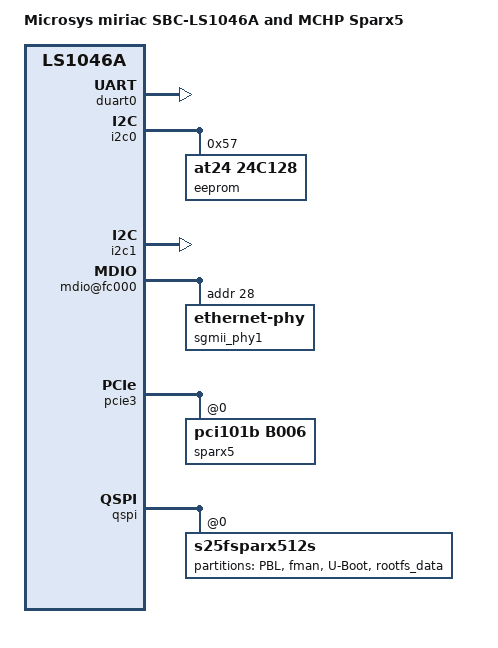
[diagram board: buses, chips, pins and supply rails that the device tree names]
// SPDX-License-Identifier: (GPL-2.0+ OR MIT)

/dts-v1/;

#include <dt-bindings/gpio/gpio.h>
#include "fsl-ls1046a.dtsi"
#include "fsl-ls1046a-miriac-mpxls1046.dtsi"

/ {
	model = "Microsys miriac SBC-LS1046A and MCHP Sparx5";
	compatible = "microsys,sbc1046a", "microsys,mpxls1046a", "fsl,ls1046a";

	aliases {
		ethernet0 = &enet4;
		serial0 = &duart0;
		twi0    = &twi0;
		i2c100  = &i2c100;
		i2c101  = &i2c101;
		i2c102  = &i2c102;
		i2c103  = &i2c103;
		i2c104  = &i2c104;
		i2c105  = &i2c105;
		i2c106  = &i2c106;
		i2c107  = &i2c107;
		i2c108  = &i2c108;
		i2c109  = &i2c109;
		i2c110  = &i2c110;
		i2c111  = &i2c111;
		i2c112  = &i2c112;
		i2c113  = &i2c113;
		i2c114  = &i2c114;
		i2c115  = &i2c115;
		i2c116  = &i2c116;
		i2c117  = &i2c117;
		i2c118  = &i2c118;
		i2c119  = &i2c119;
	};

	chosen {
		stdout-path = "serial0:115200n8";
	};

	meba {
		board = "Sparx5 pcb134 via PCI";
		pcb = "pcb134";
		target = "0x7558";
		regoff0 = "0x10000000"; // CSR ring offsets
		regoff1 = "0x00000000"; // CPU register offsets
	};

	ifmux: switch_ifmux@0 {
		compatible = "microchip,sparx5-ifmux";
		status = "okay";
	};
};

&duart0 {
	status = "okay";
};

&i2c0 {
	status = "okay";

	eeprom@57 {
		compatible = "at24,24c128";
		reg = <0x57>;
	};
};

&i2c1 {
	status = "okay";
};

&ifc {
	nand@0,0 {
		status = "disabled";
		nand-ecc-strength = <4>;
		partition@0 {
			reg = <0x0 0x00100000>;
			label = "NAND U-Boot Image";
			read-only;
		};

		partition@100000 {
			reg = <0x00100000 0x00100000>;
			label = "NAND U-Boot Env";
		};

		partition@200000 {
			reg = <0x00200000 0x01E00000>;
			label = "NAND FIT Image";
		};

		partition@2000000 {
			reg = <0x02000000 0x1e000000>;
			label = "NAND (RW) UBIFS Root File System";
		};
	};
};

#include "fsl-ls1046-post.dtsi"

&fman0 {
	compatible = "fsl,fman", "simple-bus";

	ethernet@e8000 {
		phy-handle = <&sgmii_phy1>;
		phy-connection-type = "sgmii";
		/* Placeholder, overwritten by bootloader */
	        mac-address = [00 00 00 00 00 00];
		/* Fallback address */
		local-mac-address = [02 18 31 7e 3e 63];
	};

	mdio@fc000 {
		sgmii_phy1: ethernet-phy@28 {
			reg = <28>;
		};
	};
};

&pcie3 {
	pci@0,0 {
		#address-cells = <3>;
		#size-cells = <2>;
		reg = <0 0 0 0 0>;
		device_type = "pci";

		/* PCI bus 2: root bus resource [0x5040000000-0x507fffffff] => bus address [0x40000000-0x7fffffff]
		 * PCIe BAR0: CSR 32MB: [0x5040000000-0x5041ffffff] => [0x40000000-0x41ffffff] => Sparx5: [610000000-611ffffff]
		 * PCIe BAR2: CPU 2MB:  [0x5044000000-0x50441fffff] => [0x44000000-0x441fffff] => Sparx5: [600000000-6001fffff]
		 */
		ranges = <0x82000000 0x0 0x40000000 0x82000000 0x0 0x40000000 0 0x40000000>; /* PCIe Bus resource */

		sparx5: switch@0,0 {
			compatible = "pci101b,b006";

			reg = <0 0 0 0 0>;
			#address-cells = <2>;
			#size-cells = <1>;
			ranges = <0x6 0x00000000 0x82000000 0x0 0x44000000 0x00200000>,  /* CPU */
			         <0x6 0x10000000 0x82000000 0x0 0x40000000 0x02000000>;  /* CSR */
			#interrupt-cells = <2>;
			interrupt-controller;
			interrupt-parent = <&sparx5>;

			gpio: pinctrl@6110101e0 {
				compatible = "microchip,sparx5-pinctrl";
				reg = <0x6 0x110101e0 0x90>, <0x6 0x10508010 0x100>;
				gpio-controller;
				#gpio-cells = <2>;
				gpio-ranges = <&gpio 0 0 64>;
				interrupt-controller;
				interrupts = <23 IRQ_TYPE_LEVEL_HIGH>;
				#interrupt-cells = <2>;

				cs1_pins: cs1-pins {
					pins = "GPIO_16";
					function = "si";
				};

				cs2_pins: cs2-pins {
					pins = "GPIO_17";
					function = "si";
				};

				cs3_pins: cs3-pins {
					pins = "GPIO_18";
					function = "si";
				};

				si2_pins: si2-pins {
					pins = "GPIO_39", "GPIO_40", "GPIO_41";
					function = "si2";
				};

				sgpio0_pins: sgpio-pins {
					pins = "GPIO_0", "GPIO_1", "GPIO_2", "GPIO_3";
					function = "sg0";
				};

				sgpio1_pins: sgpio1-pins {
					pins = "GPIO_4", "GPIO_5", "GPIO_12", "GPIO_13";
					function = "sg1";
				};

				sgpio2_pins: sgpio2-pins {
					pins = "GPIO_30", "GPIO_31", "GPIO_32", "GPIO_33";
					function = "sg2";
				};

				uart_pins: uart-pins {
					pins = "GPIO_10", "GPIO_11";
					function = "uart";
				};

				uart2_pins: uart2-pins {
					pins = "GPIO_26", "GPIO_27";
					function = "uart2";
				};

				uart3_pins: uart3-pins {
					pins = "GPIO_23", "GPIO_24";
					function = "uart3";
				};

				i2c_pins: i2c-pins {
					pins = "GPIO_14", "GPIO_15";
					function = "twi";
				};

				i2c2_pins: i2c2-pins {
					pins = "GPIO_28", "GPIO_29";
					function = "twi2";
				};

				emmc_pins: emmc-pins {
					pins = "GPIO_34", "GPIO_35", "GPIO_36",
						"GPIO_37", "GPIO_38", "GPIO_39",
						"GPIO_40", "GPIO_41", "GPIO_42",
						"GPIO_43", "GPIO_44", "GPIO_45",
						"GPIO_46", "GPIO_47";
					function = "emmc";
				};
			};

			sgpio0: gpio@61101036c {
				compatible = "mscc,ocelot-sgpio";
				status = "disabled";
				clocks = <&sys_clk>;
				pinctrl-0 = <&sgpio0_pins>;
				pinctrl-names = "default";
				reg = <0x6 0x1101036c 0x100>;
				gpio-controller;
				#gpio-cells = <2>;
				gpio-ranges = <&gpio 0 64 64>;
			};

			sgpio1: gpio@611010484 {
				compatible = "mscc,ocelot-sgpio";
				status = "disabled";
				clocks = <&sys_clk>;
				pinctrl-0 = <&sgpio1_pins>;
				pinctrl-names = "default";
				reg = <0x6 0x11010484 0x100>;
				gpio-controller;
				#gpio-cells = <2>;
				gpio-ranges = <&gpio 0 128 64>;
			};

			sgpio2: gpio@61101059c {
				compatible = "mscc,ocelot-sgpio";
				status = "disabled";
				clocks = <&sys_clk>;
				pinctrl-0 = <&sgpio2_pins>;
				pinctrl-names = "default";
				reg = <0x6 0x1101059c 0x100>;
				gpio-controller;
				#gpio-cells = <2>;
				gpio-ranges = <&gpio 0 192 64>;
			};

			twi0: i2c@600101000 {
				compatible = "snps,designware-i2c";
				status = "disabled";
				pinctrl-0 = <&i2c_pins>;
				pinctrl-names = "default";
				reg = <0x6 0x00101000 0x100>;
				#address-cells = <1>;
				#size-cells = <0>;
				interrupts = <14 IRQ_TYPE_LEVEL_HIGH>;
				i2c-sda-hold-time-ns = <300>;
				clock-frequency = <100000>;
				clocks = <&ahb_clk>;
			};

			twi1: i2c@600103000 {
				compatible = "snps,designware-i2c";
				status = "disabled";
				pinctrl-0 = <&i2c2_pins>;
				pinctrl-names = "default";
				reg = <0x6 0x00103000 0x100>;
				#address-cells = <1>;
				#size-cells = <0>;
				interrupts = <15 IRQ_TYPE_LEVEL_HIGH>;
				i2c-sda-hold-time-ns = <300>;
				clock-frequency = <100000>;
				clocks = <&ahb_clk>;
			};

			irqmux0: irqmux@600000000 {
				compatible = "microchip,uio_sparx5_irqmux";
				reg = <0x6 0x00000000 0x00200000>;
				reg-names = "origin1_2";
				interrupts = <40 IRQ_TYPE_LEVEL_HIGH>,
					     <41 IRQ_TYPE_LEVEL_HIGH>,
					     <42 IRQ_TYPE_LEVEL_HIGH>,
					     <43 IRQ_TYPE_LEVEL_HIGH>;
				interrupt-names = "master",
					     "slave-0x10001", "slave-0x10002",
					     "slave-0x20000";
				external-cpu;
				status = "disabled";
			};

			dma: dma-controller@600000000 {
				compatible = "microchip,vsc7558-fdma";
				reg = <0x6 0x10000000 0x02000000>, /* CSR */
				      <0x6 0x00000000 0x00200000>; /* CPU */
				#dma-cells = <1>;
				dma-channels = <8>;
				interrupts = <28 IRQ_TYPE_LEVEL_HIGH>;
				external-cpu;
				status = "disabled";
			};

			ifh0: ifh_switch_port@0 {
				compatible = "microchip,vsc7558-fdma-ifh";
				reg = <0x6 0x10000000 0x2000000>; /* CSR */
				dmas = <&dma 0>, <&dma 6>;
				dma-names = "tx", "rx";
				interrupts = <33 IRQ_TYPE_LEVEL_HIGH>,
				             <34 IRQ_TYPE_LEVEL_HIGH>;
				interrupt-names = "xtr", "inj";
				status = "disabled";
			};

			ifh1: ifh_switch_port@1 {
				compatible = "microchip,vsc7558-fdma-ifh";
				reg = <0x6 0x10000000 0x2000000>; /* CSR */
				dmas = <&dma 1>, <&dma 7>;
				dma-names = "tx", "rx";
				interrupts = <33 IRQ_TYPE_LEVEL_HIGH>,
				             <34 IRQ_TYPE_LEVEL_HIGH>;
				interrupt-names = "xtr", "inj";
				status = "disabled";
			};

			clocks: clocks {
				ahb_clk: ahb-clk {
					compatible = "fixed-clock";
					#clock-cells = <0>;
					clock-frequency = <250000000>;
				};
				sys_clk: sys-clk {
					compatible = "fixed-clock";
					#clock-cells = <0>;
					clock-frequency = <625000000>;
				};
				aux1_clk: aux1-clk {
					compatible = "fixed-clock";
					#clock-cells = <0>;
					clock-frequency = <667000000>;
				};
			};

			twi0_imux: twi0-imux@0 {
				compatible = "i2c-mux-pinctrl";
				status = "disabled";
				#address-cells = <1>;
				#size-cells = <0>;
				i2c-parent = <&twi0>;
			};

			twi0_emux: twi0-emux@0 {
				compatible = "i2c-mux-gpio";
				status = "disabled";
				#address-cells = <1>;
				#size-cells = <0>;
				i2c-parent = <&twi0>;
			};
		};
	};
};

&gpio {
	cs14_pins: cs14-pins {
		pins = "GPIO_44";
		function = "si";
	};
};

&sgpio0 {
	status = "okay";
	microchip,sgpio-ports = <0x00FFFFFF>;
};

&twi0 {
	status = "okay";
};

&gpio {
	i2cmux_pins_i: i2cmux-pins-i {
               pins = "GPIO_16", "GPIO_17", "GPIO_18", "GPIO_19",
                      "GPIO_20", "GPIO_22", "GPIO_36", "GPIO_35",
                      "GPIO_50", "GPIO_51", "GPIO_56", "GPIO_57";
		function = "twi_scl_m";
		output-low;
	};
	i2cmux_0: i2cmux-0 {
		pins = "GPIO_16";
		function = "twi_scl_m";
		output-high;
	};
	i2cmux_1: i2cmux-1 {
		pins = "GPIO_17";
		function = "twi_scl_m";
		output-high;
	};
	i2cmux_2: i2cmux-2 {
		pins = "GPIO_18";
		function = "twi_scl_m";
		output-high;
	};
	i2cmux_3: i2cmux-3 {
		pins = "GPIO_19";
		function = "twi_scl_m";
		output-high;
	};
	i2cmux_4: i2cmux-4 {
		pins = "GPIO_20";
		function = "twi_scl_m";
		output-high;
	};
	i2cmux_5: i2cmux-5 {
		pins = "GPIO_22";
		function = "twi_scl_m";
		output-high;
	};
	i2cmux_6: i2cmux-6 {
		pins = "GPIO_36";
		function = "twi_scl_m";
		output-high;
	};
	i2cmux_7: i2cmux-7 {
		pins = "GPIO_35";
		function = "twi_scl_m";
		output-high;
	};
	i2cmux_8: i2cmux-8 {
		pins = "GPIO_50";
		function = "twi_scl_m";
		output-high;
	};
	i2cmux_9: i2cmux-9 {
		pins = "GPIO_51";
		function = "twi_scl_m";
		output-high;
	};
	i2cmux_10: i2cmux-10 {
		pins = "GPIO_56";
		function = "twi_scl_m";
		output-high;
	};
	i2cmux_11: i2cmux-11 {
		pins = "GPIO_57";
		function = "twi_scl_m";
		output-high;
	};
};

&twi0_imux {
	status = "okay";
	pinctrl-names =
		"i2c100", "i2c101", "i2c102", "i2c103",
		"i2c104", "i2c105", "i2c106", "i2c107",
		"i2c108", "i2c109", "i2c110", "i2c111", "idle";
	pinctrl-0 = <&i2cmux_0>;
	pinctrl-1 = <&i2cmux_1>;
	pinctrl-2 = <&i2cmux_2>;
	pinctrl-3 = <&i2cmux_3>;
	pinctrl-4 = <&i2cmux_4>;
	pinctrl-5 = <&i2cmux_5>;
	pinctrl-6 = <&i2cmux_6>;
	pinctrl-7 = <&i2cmux_7>;
	pinctrl-8 = <&i2cmux_8>;
	pinctrl-9 = <&i2cmux_9>;
	pinctrl-10 = <&i2cmux_10>;
	pinctrl-11 = <&i2cmux_11>;
	pinctrl-12 = <&i2cmux_pins_i>;
	i2c100: i2c_sfp1 {
		reg = <0x0>;
		#address-cells = <1>;
		#size-cells = <0>;
	};
	i2c101: i2c_sfp2 {
		reg = <0x1>;
		#address-cells = <1>;
		#size-cells = <0>;
	};
	i2c102: i2c_sfp3 {
		reg = <0x2>;
		#address-cells = <1>;
		#size-cells = <0>;
	};
	i2c103: i2c_sfp4 {
		reg = <0x3>;
		#address-cells = <1>;
		#size-cells = <0>;
	};
	i2c104: i2c_sfp5 {
		reg = <0x4>;
		#address-cells = <1>;
		#size-cells = <0>;
	};
	i2c105: i2c_sfp6 {
		reg = <0x5>;
		#address-cells = <1>;
		#size-cells = <0>;
	};
	i2c106: i2c_sfp7 {
		reg = <0x6>;
		#address-cells = <1>;
		#size-cells = <0>;
	};
	i2c107: i2c_sfp8 {
		reg = <0x7>;
		#address-cells = <1>;
		#size-cells = <0>;
	};
	i2c108: i2c_sfp9 {
		reg = <0x8>;
		#address-cells = <1>;
		#size-cells = <0>;
	};
	i2c109: i2c_sfp10 {
		reg = <0x9>;
		#address-cells = <1>;
		#size-cells = <0>;
	};
	i2c110: i2c_sfp11 {
		reg = <0xa>;
		#address-cells = <1>;
		#size-cells = <0>;
	};
	i2c111: i2c_sfp12 {
		reg = <0xb>;
		#address-cells = <1>;
		#size-cells = <0>;
	};
};

&twi0_emux {
	status = "okay";
	mux-gpios = <&gpio 55 GPIO_ACTIVE_HIGH
		     &gpio 60 GPIO_ACTIVE_HIGH
		     &gpio 61 GPIO_ACTIVE_HIGH
		     &gpio 54 GPIO_ACTIVE_HIGH>;
	idle-state = <0x8>;
	i2c112: i2c_sfp13 {
		reg = <0x0>;
		#address-cells = <1>;
		#size-cells = <0>;
	};
	i2c113: i2c_sfp14 {
		reg = <0x1>;
		#address-cells = <1>;
		#size-cells = <0>;
	};
	i2c114: i2c_sfp15 {
		reg = <0x2>;
		#address-cells = <1>;
		#size-cells = <0>;
	};
	i2c115: i2c_sfp16 {
		reg = <0x3>;
		#address-cells = <1>;
		#size-cells = <0>;
	};
	i2c116: i2c_sfp17 {
		reg = <0x4>;
		#address-cells = <1>;
		#size-cells = <0>;
	};
	i2c117: i2c_sfp18 {
		reg = <0x5>;
		#address-cells = <1>;
		#size-cells = <0>;
	};
	i2c118: i2c_sfp19 {
		reg = <0x6>;
		#address-cells = <1>;
		#size-cells = <0>;
	};
	i2c119: i2c_sfp20 {
		reg = <0x7>;
		#address-cells = <1>;
		#size-cells = <0>;
	};
};

&dma {
	status = "okay";
};

&ifh0 {
	status = "okay";
};

&irqmux0 {
	status = "okay";
};

&qspi {
	s25fsparx512s@0 {
		partitions {
			compatible = "fixed-partitions";
			#address-cells = <1>;
			#size-cells = <1>;
			partition@0 {
				    label = "PBL";
				    reg = <0x00000000 0x00010000>;
			};
			partition@1 {
				    label = "fman";
				    reg = <0x00010000 0x00010000>;
			};
			partition@2 {
				    label = "U-Boot";
				    reg = <0x00100000 0x00100000>;
			};
			partition@3 {
				    label = "rootfs_data";
				    reg = <0x00400000 0x00c00000>;
			};
		};
	};
};
